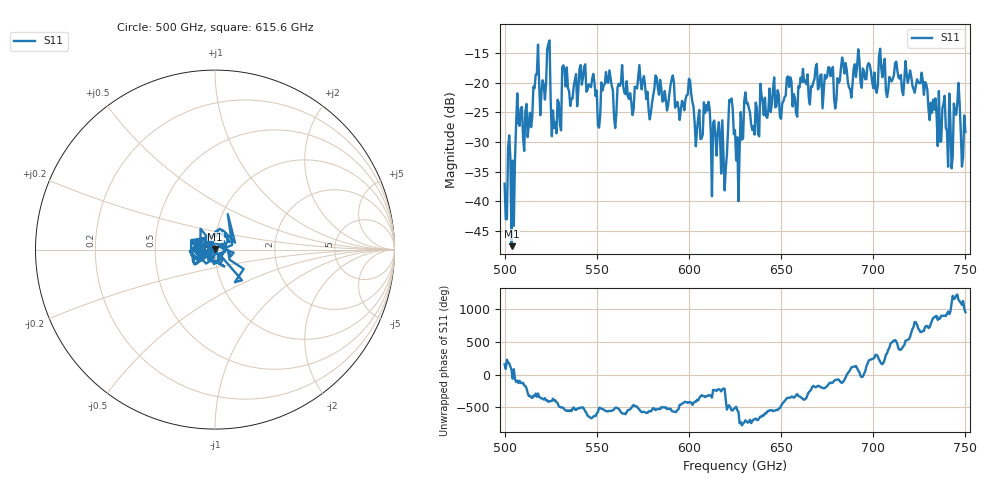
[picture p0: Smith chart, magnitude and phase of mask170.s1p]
!Created with skrf (http://scikit-rf.org).
# GHz S MA R 50.0
!freq magS11 angS11
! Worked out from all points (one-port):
!   401 points, 500 GHz to 750 GHz, reference 50 ohm
!   lowest |S11| = -47.6 dB at 503.8 GHz (marker M1), VSWR 1.01, Z = 50.1 + j0.402 ohm
!   |S11| at or under -10 dB: start of sweep to end of sweep
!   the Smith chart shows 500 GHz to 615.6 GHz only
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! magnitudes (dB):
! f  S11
! 500 GHz  -37.0
! 503.8 GHz  -47.6
! 507.5 GHz  -26.8
! 513.8 GHz  -25.1
! 516.9 GHz  -18.7
! 520.6 GHz  -19.6
! 523.8 GHz  -13.5
! 526.9 GHz  -27.6
! 531.2 GHz  -17.4
! 542.5 GHz  -19.2
! 550.6 GHz  -27.2
! 562.5 GHz  -20.5
! 593.8 GHz  -23.2
! 610 GHz  -24.7
! 618.8 GHz  -32.1
! 622.5 GHz  -23.1
! 625 GHz  -28.0
! 628.1 GHz  -24.9
! 631.2 GHz  -23.5
! 634.4 GHz  -28.0
! 656.2 GHz  -24.0
! 676.9 GHz  -18.9
! 680 GHz  -23.0
! 683.8 GHz  -16.7
! 687.5 GHz  -21.1
! 718.8 GHz  -20.0
! 741.9 GHz  -26.6
! 750 GHz  -28.3
